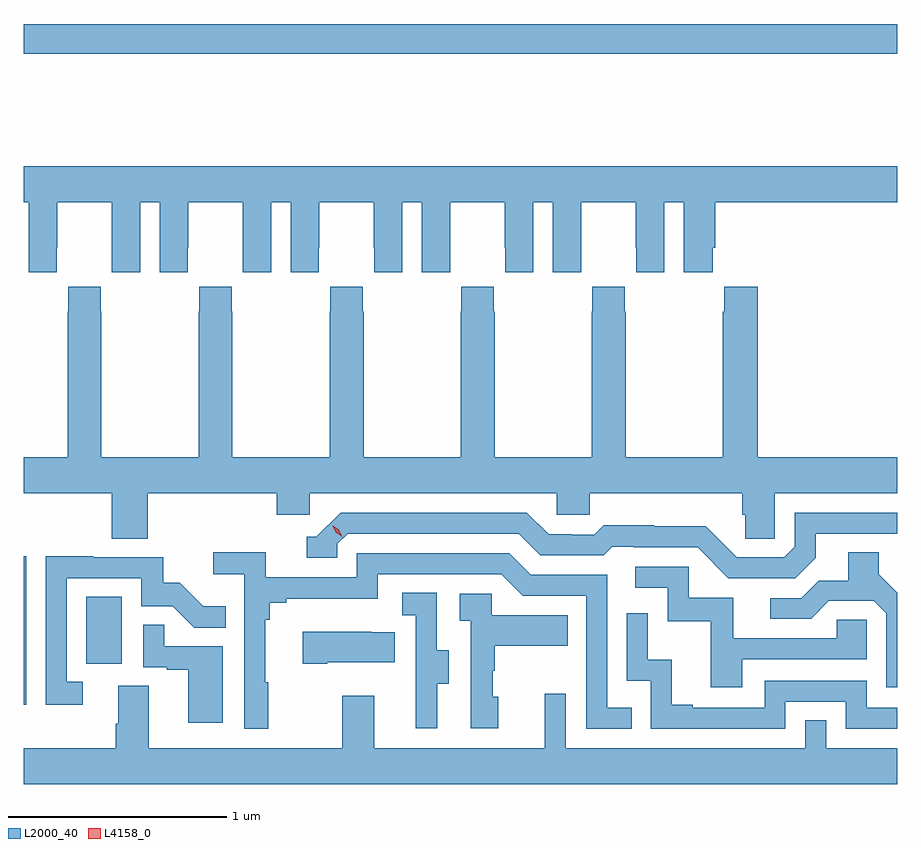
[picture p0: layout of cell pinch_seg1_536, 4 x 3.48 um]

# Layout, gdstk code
import gdstk
lib = gdstk.Library(unit=1e-6, precision=1e-09)
def R(c, l, rs):  # rectangles x0, y0, x1, y1
    for r in rs: c.add(gdstk.rectangle(r[:2], r[2:], *l))
def P(c, l, *ps):  # polygons
    for p in ps: c.add(gdstk.Polygon(p, *l))
L2000_40 = (2000, 40)
L4158_0 = (4158, 0)

pinch_seg1_536 = lib.new_cell('pinch_seg1_536')
R(pinch_seg1_536, L2000_40, [(1031.722,540.108,1031.733,540.788), (1032.008,540.294,1032.172,540.601), (1031.722,543.088,1035.722,543.224)])
P(pinch_seg1_536, L2000_40, [(1031.722,542.408),(1031.744,542.408),(1031.744,542.088),(1031.874,542.088),(1031.874,542.2),(1031.875,542.2),(1031.875,542.408),(1032.125,542.408),(1032.125,542.2),(1032.126,542.2),(1032.126,542.088),(1032.256,542.088),(1032.256,542.408),(1032.344,542.408),(1032.344,542.088),(1032.474,542.088),(1032.474,542.2),(1032.475,542.2),(1032.475,542.408),(1032.725,542.408),(1032.725,542.2),(1032.726,542.2),(1032.726,542.088),(1032.856,542.088),(1032.856,542.408),(1032.944,542.408),(1032.944,542.088),(1033.074,542.088),(1033.074,542.2),(1033.075,542.2),(1033.075,542.408),(1033.325,542.408),(1033.325,542.2),(1033.326,542.2),(1033.326,542.088),(1033.456,542.088),(1033.456,542.408),(1033.544,542.408),(1033.544,542.088),(1033.674,542.088),(1033.674,542.2),(1033.675,542.2),(1033.675,542.408),(1033.925,542.408),(1033.925,542.2),(1033.926,542.2),(1033.926,542.088),(1034.056,542.088),(1034.056,542.408),(1034.144,542.408),(1034.144,542.088),(1034.274,542.088),(1034.274,542.2),(1034.275,542.2),(1034.275,542.408),(1034.525,542.408),(1034.525,542.2),(1034.526,542.2),(1034.526,542.088),(1034.656,542.088),(1034.656,542.408),(1034.744,542.408),(1034.744,542.088),(1034.878,542.088),(1034.878,542.2),(1034.888,542.2),(1034.888,542.408),(1035.722,542.408),(1035.722,542.572),(1031.722,542.572)],
  [(1032.29,541.076),(1032.881,541.076),(1032.881,540.978),(1033.032,540.978),(1033.032,541.076),(1034.163,541.076),(1034.163,540.978),(1034.313,540.978),(1034.313,541.076),(1035.011,541.076),(1035.011,540.978),(1035.025,540.978),(1035.025,540.868),(1035.162,540.868),(1035.162,541.076),(1035.722,541.076),(1035.722,541.24),(1035.083,541.24),(1035.083,542.02),(1034.929,542.02),(1034.929,541.907),(1034.923,541.907),(1034.923,541.24),(1034.478,541.24),(1034.478,541.907),(1034.475,541.907),(1034.475,542.02),(1034.325,542.02),(1034.325,541.907),(1034.323,541.907),(1034.323,541.24),(1033.878,541.24),(1033.878,541.907),(1033.875,541.907),(1033.875,542.02),(1033.725,542.02),(1033.725,541.907),(1033.723,541.907),(1033.723,541.24),(1033.278,541.24),(1033.278,541.907),(1033.275,541.907),(1033.275,542.02),(1033.125,542.02),(1033.125,541.907),(1033.123,541.907),(1033.123,541.24),(1032.678,541.24),(1032.678,541.907),(1032.675,541.907),(1032.675,542.02),(1032.525,542.02),(1032.525,541.907),(1032.523,541.907),(1032.523,541.24),(1032.078,541.24),(1032.078,541.907),(1032.075,541.907),(1032.075,542.02),(1031.925,542.02),(1031.925,541.907),(1031.923,541.907),(1031.923,541.24),(1031.722,541.24),(1031.722,541.076),(1032.125,541.076),(1032.125,540.868),(1032.29,540.868)],
  [(1035.349,540.781),(1035.349,540.891),(1035.722,540.891),(1035.722,540.987),(1035.252,540.987),(1035.252,540.831),(1035.204,540.783),(1034.988,540.783),(1034.846,540.925),(1034.61,540.925),(1034.61,540.928),(1034.377,540.928),(1034.335,540.885),(1034.232,540.885),(1034.232,540.888),(1034.125,540.888),(1034.026,540.987),(1033.173,540.987),(1033.062,540.876),(1033.019,540.876),(1033.019,540.78),(1033.158,540.78),(1033.158,540.843),(1033.206,540.891),(1033.989,540.891),(1034.088,540.792),(1034.377,540.792),(1034.416,540.831),(1034.515,540.831),(1034.515,540.828),(1034.808,540.828),(1034.949,540.687),(1035.255,540.687)],
  [(1032.841,540.209),(1032.829,540.209),(1032.829,540.497),(1032.848,540.497),(1032.848,540.574),(1032.925,540.574),(1032.925,540.593),(1033.344,540.593),(1033.344,540.705),(1033.908,540.705),(1034.007,540.606),(1034.298,540.606),(1034.298,539.997),(1034.507,539.997),(1034.507,540.093),(1034.394,540.093),(1034.394,540.702),(1034.044,540.702),(1033.945,540.801),(1033.248,540.801),(1033.248,540.69),(1032.83,540.69),(1032.83,540.806),(1032.591,540.806),(1032.591,540.704),(1032.732,540.704),(1032.732,539.997),(1032.841,539.997)],
  [(1035.722,540.619),(1035.637,540.704),(1035.637,540.806),(1035.497,540.806),(1035.497,540.674),(1035.362,540.674),(1035.282,540.594),(1035.141,540.594),(1035.141,540.501),(1035.328,540.501),(1035.409,540.582),(1035.615,540.582),(1035.672,540.525),(1035.672,540.186),(1035.722,540.186)],
  [(1031.992,540.213),(1031.919,540.213),(1031.919,540.687),(1032.261,540.687),(1032.261,540.558),(1032.405,540.558),(1032.503,540.46),(1032.647,540.46),(1032.647,540.559),(1032.543,540.559),(1032.436,540.666),(1032.36,540.666),(1032.36,540.783),(1032.041,540.783),(1032.041,540.788),(1031.823,540.788),(1031.823,540.108),(1031.992,540.108)],
  [(1035.013,540.315),(1035.582,540.315),(1035.582,540.495),(1035.445,540.495),(1035.445,540.411),(1034.971,540.411),(1034.971,540.597),(1034.766,540.597),(1034.766,540.738),(1034.523,540.738),(1034.523,540.642),(1034.67,540.642),(1034.67,540.489),(1034.869,540.489),(1034.869,540.186),(1035.013,540.186)],
  [(1033.615,540.202),(1033.669,540.202),(1033.669,540.357),(1033.614,540.357),(1033.614,540.62),(1033.455,540.62),(1033.455,540.517),(1033.518,540.517),(1033.518,540.213),(1033.517,540.213),(1033.517,540),(1033.615,540)],
  [(1033.894,540.144),(1033.869,540.144),(1033.869,540.263),(1033.879,540.263),(1033.879,540.377),(1034.213,540.377),(1034.213,540.517),(1033.866,540.517),(1033.866,540.615),(1033.719,540.615),(1033.719,540.491),(1033.77,540.491),(1033.77,540),(1033.894,540)],
  [(1035.21,540.12),(1035.486,540.12),(1035.486,539.997),(1035.722,539.997),(1035.722,540.093),(1035.582,540.093),(1035.582,540.216),(1035.114,540.216),(1035.114,540.093),(1034.785,540.093),(1034.785,540.106),(1034.69,540.106),(1034.69,540.314),(1034.58,540.314),(1034.58,540.526),(1034.484,540.526),(1034.484,540.216),(1034.592,540.216),(1034.592,539.997),(1035.21,539.997)],
  [(1032.634,540.375),(1032.365,540.375),(1032.365,540.473),(1032.27,540.473),(1032.27,540.279),(1032.377,540.279),(1032.377,540.267),(1032.476,540.267),(1032.476,540.024),(1032.634,540.024)],
  [(1033.111,540.302),(1033.421,540.302),(1033.421,540.439),(1033.313,540.439),(1033.313,540.442),(1032.999,540.442),(1032.999,540.295),(1033.111,540.295)],
  [(1035.722,539.908),(1035.396,539.908),(1035.396,540.035),(1035.3,540.035),(1035.3,539.908),(1034.205,539.908),(1034.205,540.157),(1034.108,540.157),(1034.108,539.908),(1033.327,539.908),(1033.327,540.148),(1033.18,540.148),(1033.18,539.908),(1032.295,539.908),(1032.295,540.194),(1032.155,540.194),(1032.155,540.02),(1032.143,540.02),(1032.143,539.908),(1031.722,539.908),(1031.722,539.744),(1035.722,539.744)])
P(pinch_seg1_536, L4158_0, [(1033.181,540.876),(1033.15,540.896),(1033.134,540.928),(1033.134,540.928),(1033.134,540.928),(1033.165,540.909),(1033.181,540.876),(1033.181,540.876)])

lib.write_gds('pinch_seg1_536.gds')
